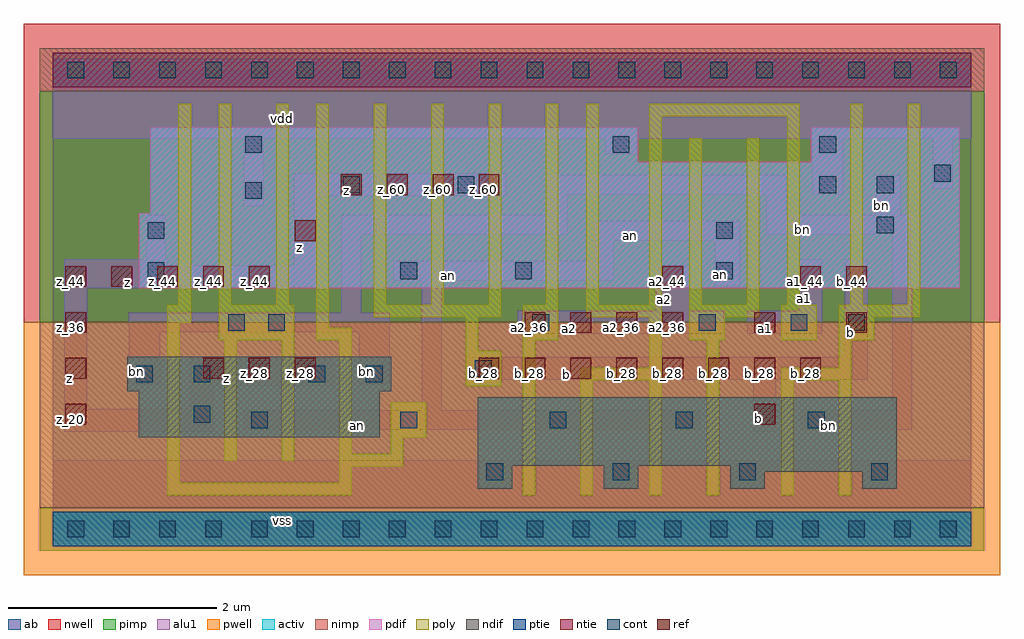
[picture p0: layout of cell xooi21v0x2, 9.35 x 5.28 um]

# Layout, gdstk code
import gdstk
lib = gdstk.Library(unit=1e-6, precision=2.5e-09)
def R(c, l, rs):  # rectangles x0, y0, x1, y1
    for r in rs: c.add(gdstk.rectangle(r[:2], r[2:], *l))
def A(c, l, x, y, w, h, nx, ny, dx, dy):  # array of equal rectangles
    R(c, l, [(x+i*dx, y+j*dy, x+i*dx+w, y+j*dy+h) for i in range(nx) for j in range(ny)])
ndif = (3, 0)
pdif = (4, 0)
ntie = (5, 0)
ptie = (6, 0)
ref = (24, 0)
cont = (25, 0)
pwell = (41, 0)
nwell = (42, 0)
activ = (43, 0)
pimp = (44, 0)
nimp = (45, 0)
poly = (46, 0)
alu1 = (49, 0)
ab = (63, 0)

xooi21v0x2 = lib.new_cell('xooi21v0x2')
R(xooi21v0x2, ndif, [(4.07,0.385,4.4,0.605), (5.28,0.385,5.61,0.605), (6.49,0.385,6.82,0.55), (7.755,0.385,8.085,0.55), (6.49,0.55,8.085,0.605), (4.07,0.605,8.085,1.265), (0.825,0.88,3.135,1.32), (0.715,1.32,3.245,1.65)])
R(xooi21v0x2, pdif, [(0.825,2.31,8.69,3.025), (0.935,3.025,8.69,3.52), (0.935,3.52,5.61,3.85), (7.26,3.52,8.69,3.85)])
R(xooi21v0x2, ntie, [(0,4.235,8.8,4.565)])
R(xooi21v0x2, ptie, [(0,-0.165,8.8,0.165)])
A(xooi21v0x2, ref, 0.12, 1, 0.2, 0.2, 1, 3, 0, 0.44)
A(xooi21v0x2, ref, 1.44, 1.44, 0.2, 0.2, 3, 1, 0.44, 0)
A(xooi21v0x2, ref, 4.08, 1.44, 0.2, 0.2, 8, 1, 0.44, 0)
A(xooi21v0x2, ref, 4.52, 1.88, 0.2, 0.2, 4, 1, 0.44, 0)
A(xooi21v0x2, ref, 0.12, 2.32, 0.2, 0.2, 5, 1, 0.44, 0)
A(xooi21v0x2, ref, 2.76, 3.2, 0.2, 0.2, 4, 1, 0.44, 0)
R(xooi21v0x2, ref, [(6.72,1,6.92,1.2), (6.72,1.88,6.92,2.08), (7.6,1.88,7.8,2.08), (5.84,2.32,6.04,2.52), (7.16,2.32,7.36,2.52), (7.6,2.32,7.8,2.52), (2.32,2.76,2.52,2.96)])
A(xooi21v0x2, cont, 0.14, -0.08, 0.16, 0.16, 20, 2, 0.44, 4.4)
A(xooi21v0x2, cont, 4.155, 0.47, 0.16, 0.16, 3, 1, 1.21, 0)
A(xooi21v0x2, cont, 1.9, 0.965, 0.16, 0.16, 3, 1, 1.43, 0)
R(xooi21v0x2, cont, [(7.84,0.47,8,0.63), (5.97,0.965,6.13,1.125), (7.235,0.965,7.395,1.125), (1.35,1.02,1.51,1.18), (0.8,1.405,0.96,1.565), (1.35,1.405,1.51,1.565), (2.45,1.405,2.61,1.565), (3,1.405,3.16,1.565), (4.045,1.46,4.205,1.62), (1.68,1.9,1.84,2.06), (2.065,1.9,2.225,2.06), (4.595,1.9,4.755,2.06), (6.19,1.9,6.35,2.06), (7.07,1.9,7.23,2.06), (7.62,1.9,7.78,2.06), (0.91,2.395,1.07,2.555), (3.33,2.395,3.49,2.555), (4.43,2.395,4.59,2.555), (6.355,2.395,6.515,2.555), (0.91,2.78,1.07,2.94), (6.355,2.78,6.515,2.94), (7.895,2.835,8.055,2.995), (1.845,3.165,2.005,3.325), (2.78,3.22,2.94,3.38), (3.88,3.22,4.04,3.38), (7.345,3.22,7.505,3.38), (7.895,3.22,8.055,3.38), (8.445,3.33,8.605,3.49), (1.845,3.605,2.005,3.765), (5.365,3.605,5.525,3.765), (7.345,3.605,7.505,3.765)])
R(xooi21v0x2, pwell, [(-0.275,-0.44,9.075,1.98)])
R(xooi21v0x2, nwell, [(-0.275,1.98,9.075,4.84)])
R(xooi21v0x2, activ, [(0,-0.165,8.8,0.165), (4.07,0.385,4.4,0.605), (5.28,0.385,5.61,0.605), (6.49,0.385,6.82,0.55), (7.755,0.385,8.085,0.55), (6.49,0.55,8.085,0.605), (4.07,0.605,8.085,1.265), (0.825,0.88,3.135,1.32), (0.715,1.32,3.245,1.65), (0.825,2.31,8.69,3.025), (0.935,3.025,8.69,3.52), (0.935,3.52,5.61,3.85), (7.26,3.52,8.69,3.85), (0,4.235,8.8,4.565)])
R(xooi21v0x2, pimp, [(-0.125,-0.205,8.925,0.205), (-0.125,1.98,8.925,4.195)])
R(xooi21v0x2, nimp, [(-0.125,0.205,8.925,1.98), (-0.125,4.195,8.925,4.605)])
A(xooi21v0x2, poly, 3.075, 2.15, 0.12, 1.925, 4, 1, 0.55, 0)
R(xooi21v0x2, poly, [(1.095,0.325,2.865,0.445), (4.505,0.325,4.625,1.81), (5.055,0.325,5.175,1.425), (5.715,0.325,5.835,1.425), (6.265,0.325,6.385,1.81), (6.98,0.325,7.1,1.425), (7.53,0.325,7.65,1.425), (1.095,0.445,1.215,1.975), (2.745,0.445,2.865,0.6), (2.745,0.6,3.36,0.72), (1.645,0.655,1.765,1.81), (2.195,0.655,2.315,1.81), (2.745,0.72,2.865,1.81), (3.24,0.72,3.36,0.875), (3.24,0.875,3.58,1.215), (3.955,1.37,4.295,1.71), (5.055,1.425,5.835,1.545), (6.98,1.425,7.65,1.545), (5.715,1.545,5.835,2.03), (7.53,1.545,7.65,1.81), (3.955,1.71,4.075,2.03), (1.59,1.81,2.315,2.15), (2.525,1.81,2.865,1.93), (4.505,1.81,4.845,2.15), (6.1,1.81,6.44,2.03), (6.98,1.81,7.32,2.15), (7.53,1.81,7.87,2.03), (2.525,1.93,2.645,4.075), (1.095,1.975,1.325,2.15), (3.075,2.03,4.295,2.15), (5.11,2.03,5.835,2.15), (6.1,2.03,6.77,2.15), (7.53,2.03,8.31,2.15), (1.205,2.15,1.325,4.075), (1.59,2.15,1.71,4.075), (2.14,2.15,2.26,4.075), (5.11,2.15,5.23,4.075), (5.715,2.15,5.835,3.955), (6.1,2.15,6.22,3.745), (6.65,2.15,6.77,3.745), (7.035,2.15,7.155,3.955), (7.64,2.15,7.76,4.075), (8.19,2.15,8.31,4.075), (5.715,3.955,7.155,4.075)])
R(xooi21v0x2, alu1, [(0,-0.11,8.8,0.66), (0.11,0.935,1.54,1.155), (6.71,0.935,6.93,1.43), (1.83,0.95,6.2,1.14), (7.165,0.95,8.235,1.14), (3.535,1.14,3.725,2.38), (8.045,1.14,8.235,2.82), (0.11,1.155,0.33,2.31), (1.32,1.155,1.54,1.375), (1.32,1.375,2.695,1.65), (0.73,1.39,1.03,1.885), (2.93,1.39,3.23,1.885), (3.96,1.43,7.81,1.65), (7.59,1.65,7.81,2.585), (4.455,1.87,6.435,2.09), (6.655,1.87,7.37,2.09), (0.73,1.885,3.23,2.075), (2.765,2.075,2.955,2.82), (5.775,2.09,6.105,2.53), (7.15,2.09,7.37,2.585), (0.11,2.31,2.53,2.53), (6.34,2.325,6.585,2.765), (3.26,2.38,5.375,2.57), (0.11,2.53,1.1,2.585), (2.31,2.53,2.53,3.19), (5.185,2.57,5.375,2.765), (0.895,2.585,1.085,3.01), (5.185,2.765,6.585,2.955), (2.765,2.82,4.935,3.01), (6.835,2.82,8.235,3.01), (4.745,3.01,4.935,3.205), (6.835,3.01,7.025,3.205), (7.88,3.01,8.125,3.395), (1.83,3.095,2.02,3.74), (2.31,3.19,4.345,3.41), (4.745,3.205,7.025,3.395), (7.275,3.205,7.575,3.74), (8.43,3.26,8.62,3.74), (5.295,3.59,5.595,3.74), (0,3.74,8.8,4.51)])
R(xooi21v0x2, ab, [(0,0,8.8,4.4)])
xooi21v0x2.add(gdstk.Label('vss', (2.2,0.0825), layer=49, texttype=0))
xooi21v0x2.add(gdstk.Label('bn', (7.4325,0.9975), layer=49, texttype=0))
xooi21v0x2.add(gdstk.Label('b', (6.765,1.0575), layer=49, texttype=0))
xooi21v0x2.add(gdstk.Label('an', (2.9225,0.9975), layer=49, texttype=0))
xooi21v0x2.add(gdstk.Label('b', (4.9225,1.485), layer=49, texttype=0))
xooi21v0x2.add(gdstk.Label('b', (7.645,1.8825), layer=49, texttype=0))
xooi21v0x2.add(gdstk.Label('a1', (6.8325,1.925), layer=49, texttype=0))
xooi21v0x2.add(gdstk.Label('a2', (4.95,1.925), layer=49, texttype=0))
xooi21v0x2.add(gdstk.Label('a1', (7.205,2.2125), layer=49, texttype=0))
xooi21v0x2.add(gdstk.Label('an', (6.4,2.435), layer=49, texttype=0))
xooi21v0x2.add(gdstk.Label('a2', (5.8575,2.2), layer=49, texttype=0))
xooi21v0x2.add(gdstk.Label('bn', (3.005,1.5125), layer=49, texttype=0))
xooi21v0x2.add(gdstk.Label('z', (1.6625,1.4425), layer=49, texttype=0))
xooi21v0x2.add(gdstk.Label('bn', (0.805,1.5125), layer=49, texttype=0))
xooi21v0x2.add(gdstk.Label('an', (3.7875,2.4275), layer=49, texttype=0))
xooi21v0x2.add(gdstk.Label('bn', (7.185,2.8675), layer=49, texttype=0))
xooi21v0x2.add(gdstk.Label('an', (5.535,2.8125), layer=49, texttype=0))
xooi21v0x2.add(gdstk.Label('z', (0.165,1.4425), layer=49, texttype=0))
xooi21v0x2.add(gdstk.Label('bn', (7.94,3.105), layer=49, texttype=0))
xooi21v0x2.add(gdstk.Label('z', (0.715,2.365), layer=49, texttype=0))
xooi21v0x2.add(gdstk.Label('z', (2.365,2.695), layer=49, texttype=0))
xooi21v0x2.add(gdstk.Label('z', (2.8175,3.245), layer=49, texttype=0))
xooi21v0x2.add(gdstk.Label('vdd', (2.2,3.9325), layer=49, texttype=0))
xooi21v0x2.add(gdstk.Label('b_28', (5.45,1.49), layer=24, texttype=0))
xooi21v0x2.add(gdstk.Label('a2_36', (5.45,1.93), layer=24, texttype=0))
xooi21v0x2.add(gdstk.Label('b_28', (5.89,1.49), layer=24, texttype=0))
xooi21v0x2.add(gdstk.Label('a2_36', (5.89,1.93), layer=24, texttype=0))
xooi21v0x2.add(gdstk.Label('a2_44', (5.89,2.37), layer=24, texttype=0))
xooi21v0x2.add(gdstk.Label('b_28', (6.33,1.49), layer=24, texttype=0))
xooi21v0x2.add(gdstk.Label('z_44', (0.61,2.37), layer=24, texttype=0))
xooi21v0x2.add(gdstk.Label('b_20', (6.77,1.05), layer=24, texttype=0))
xooi21v0x2.add(gdstk.Label('b_28', (6.77,1.49), layer=24, texttype=0))
xooi21v0x2.add(gdstk.Label('a1_36', (6.77,1.93), layer=24, texttype=0))
xooi21v0x2.add(gdstk.Label('b_28', (7.21,1.49), layer=24, texttype=0))
xooi21v0x2.add(gdstk.Label('a1_44', (7.21,2.37), layer=24, texttype=0))
xooi21v0x2.add(gdstk.Label('b_36', (7.65,1.93), layer=24, texttype=0))
xooi21v0x2.add(gdstk.Label('b_44', (7.65,2.37), layer=24, texttype=0))
xooi21v0x2.add(gdstk.Label('z_44', (1.05,2.37), layer=24, texttype=0))
xooi21v0x2.add(gdstk.Label('z_28', (1.49,1.49), layer=24, texttype=0))
xooi21v0x2.add(gdstk.Label('z_44', (1.49,2.37), layer=24, texttype=0))
xooi21v0x2.add(gdstk.Label('z_28', (1.93,1.49), layer=24, texttype=0))
xooi21v0x2.add(gdstk.Label('z_44', (1.93,2.37), layer=24, texttype=0))
xooi21v0x2.add(gdstk.Label('z_20', (0.17,1.05), layer=24, texttype=0))
xooi21v0x2.add(gdstk.Label('z_28', (0.17,1.49), layer=24, texttype=0))
xooi21v0x2.add(gdstk.Label('z_36', (0.17,1.93), layer=24, texttype=0))
xooi21v0x2.add(gdstk.Label('z_44', (0.17,2.37), layer=24, texttype=0))
xooi21v0x2.add(gdstk.Label('z_28', (2.37,1.49), layer=24, texttype=0))
xooi21v0x2.add(gdstk.Label('z_52', (2.37,2.81), layer=24, texttype=0))
xooi21v0x2.add(gdstk.Label('z_60', (2.81,3.25), layer=24, texttype=0))
xooi21v0x2.add(gdstk.Label('z_60', (3.25,3.25), layer=24, texttype=0))
xooi21v0x2.add(gdstk.Label('z_60', (3.69,3.25), layer=24, texttype=0))
xooi21v0x2.add(gdstk.Label('b_28', (4.13,1.49), layer=24, texttype=0))
xooi21v0x2.add(gdstk.Label('z_60', (4.13,3.25), layer=24, texttype=0))
xooi21v0x2.add(gdstk.Label('b_28', (4.57,1.49), layer=24, texttype=0))
xooi21v0x2.add(gdstk.Label('a2_36', (4.57,1.93), layer=24, texttype=0))
xooi21v0x2.add(gdstk.Label('b_28', (5.01,1.49), layer=24, texttype=0))
xooi21v0x2.add(gdstk.Label('a2_36', (5.01,1.93), layer=24, texttype=0))

lib.write_gds('xooi21v0x2.gds')
